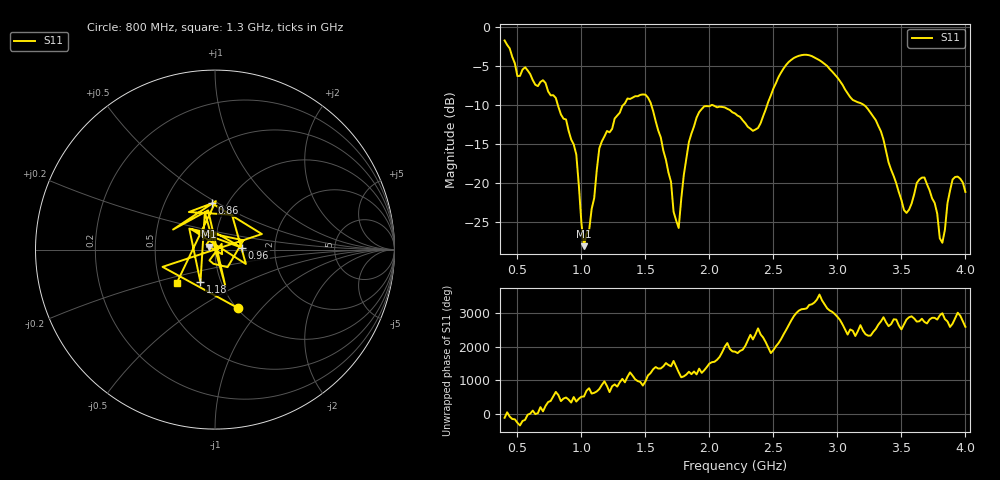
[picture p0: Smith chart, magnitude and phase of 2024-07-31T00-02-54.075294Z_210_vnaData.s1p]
!Created with skrf (http://scikit-rf.org).
# Hz S RI R 50.0
!freq ReS11 ImS11
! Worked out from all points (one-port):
!   181 points, 400 MHz to 4 GHz, reference 50 ohm
!   lowest |S11| = -28.2 dB at 1.02 GHz (marker M1), VSWR 1.08, Z = 46.6 + j1.58 ohm
!   |S11| at or under -10 dB: 815.9 MHz to 1.327 GHz (511.1 MHz wide, 47.7 % of centre); 1.546 GHz to 2.018 GHz (471.6 MHz wide, 26.5 % of centre); 3.207 GHz to end of sweep (the widest 3 of 4)
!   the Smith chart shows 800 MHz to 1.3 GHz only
!   S11 on the Smith chart (normalised r, x): 800 MHz: 1.01, -0.75; 860 MHz: 0.85, +0.47; 960 MHz: 1.36, +0.03; 1.18 GHz: 0.80, -0.30; 1.3 GHz: 0.61, -0.25
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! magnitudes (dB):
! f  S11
! 400 MHz  -1.7
! 500 MHz  -6.3
! 560 MHz  -5.1
! 800 MHz  -9.1
! 860 MHz  -11.8
! 960 MHz  -16.4
! 1.02 GHz  -28.2
! 1.1 GHz  -22.0
! 1.14 GHz  -15.6
! 1.18 GHz  -14.0
! 1.3 GHz  -11.0
! 1.54 GHz  -9.7
! 1.76 GHz  -25.8
! 1.84 GHz  -14.8
! 1.92 GHz  -10.9
! 2.2 GHz  -11.1
! 2.38 GHz  -13.0
! 2.66 GHz  -3.9
! 2.86 GHz  -4.2
! 3.1 GHz  -9.0
! 3.3 GHz  -12.0
! 3.52 GHz  -23.5
! 3.56 GHz  -23.5
! 3.68 GHz  -19.3
! 3.76 GHz  -22.6
! 3.82 GHz  -27.7
! 3.9 GHz  -19.6
! 4 GHz  -21.2
